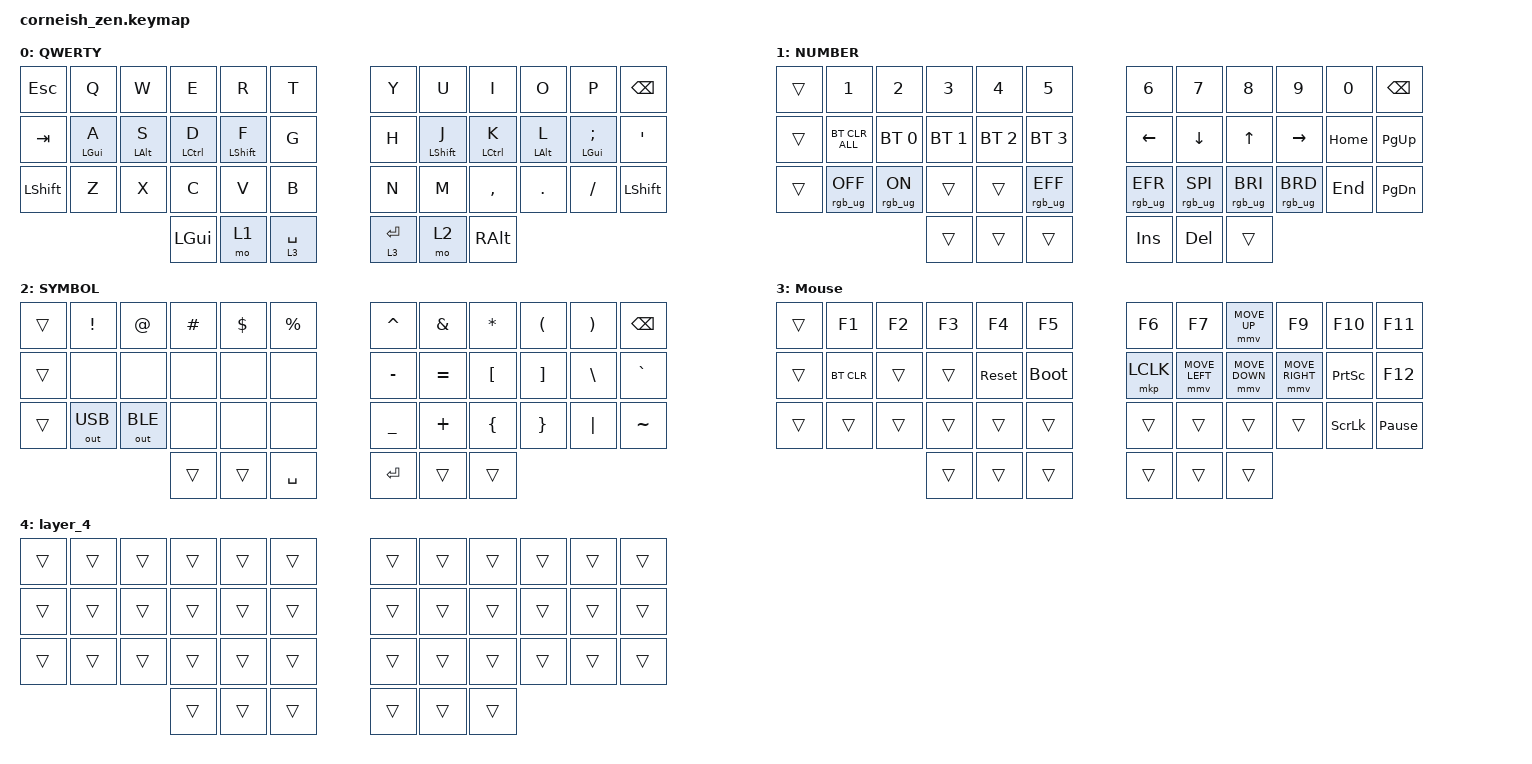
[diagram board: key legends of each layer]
/*
 * Copyright (c) 2020 The ZMK Contributors
 *
 * SPDX-License-Identifier: MIT
 */

#include <behaviors.dtsi>
#include <dt-bindings/zmk/bt.h>
#include <dt-bindings/zmk/keys.h>
#include <dt-bindings/zmk/outputs.h>
#include <dt-bindings/zmk/pointing.h>
#include <dt-bindings/zmk/rgb.h>

/ {
    chosen {
        zmk,matrix_transform = &default_transform;

        // zmk,matrix_transform = &five_column_transform;
    };
};

/ {
    behaviors {
        td0: td0 {
            compatible = "zmk,behavior-tap-dance";
            label = "TD0";
            #binding-cells = <0>;
            bindings = <&kp LEFT_SHIFT>, <&kp CAPS>;
        };
    };

    keymap {
        compatible = "zmk,keymap";

        default_layer {
            display-name = "QWERTY";

            // --------------------------------------------------------------------------------
            // |  TAB |  Q  |  W  |  E  |  R  |  T  |   |  Y  |  U   |  I  |  O  |  P  | BKSP |
            // | CTRL |  A  |  S  |  D  |  F  |  G  |   |  H  |  J   |  K  |  L  |  ;  |  '   | 
            // | SHFT |  Z  |  X  |  C  |  V  |  B  |   |  N  |  M   |  ,  |  .  |  /  | ESC  |
            //                    | GUI | LWR | SPC |   | ENT | RSE  | ALT |

            bindings = <
&kp ESC     &kp Q       &kp W       &kp E        &kp R        &kp T          &kp Y        &kp U        &kp I        &kp O       &kp P          &kp BSPC
&kp TAB     &mt LGUI A  &mt LALT S  &mt LCTRL D  &mt LSHFT F  &kp G          &kp H        &mt LSHFT J  &mt LCTRL K  &mt LALT L  &mt LGUI SEMI  &kp SQT
&kp LSHIFT  &kp Z       &kp X       &kp C        &kp V        &kp B          &kp N        &kp M        &kp COMMA    &kp DOT     &kp FSLH       &kp LEFT_SHIFT
                                    &kp LGUI     &mo 1        &lt 3 SPACE    &lt 3 ENTER  &mo 2        &kp RALT
            >;
        };

        lower_layer {
            display-name = "NUMBER";

            // -----------------------------------------------------------------------------------------
            // |  TAB |  1  |  2  |  3  |  4  |  5  |   |  6  |  7  |  8  |  9  |  0  | BKSP |
            // | BTCLR| BT1 | BT2 | BT3 | BT4 | BT5 |   | LFT | DWN |  UP | RGT |     |      |
            // | SHFT |     |     |     |     |     |   |     |     |     |     |     |      |
            //                    | GUI |     | SPC |   | ENT |     | ALT |

            bindings = <
&trans  &kp N1           &kp N2          &kp N3        &kp N4        &kp N5             &kp N6           &kp N7           &kp N8           &kp N9           &kp N0    &kp BSPC
&trans  &bt BT_CLR_ALL   &bt BT_SEL 0    &bt BT_SEL 1  &bt BT_SEL 2  &bt BT_SEL 3       &kp LEFT         &kp DOWN         &kp UP           &kp RIGHT        &kp HOME  &kp PG_UP
&trans  &rgb_ug RGB_OFF  &rgb_ug RGB_ON  &trans        &trans        &rgb_ug RGB_EFF    &rgb_ug RGB_EFR  &rgb_ug RGB_SPI  &rgb_ug RGB_BRI  &rgb_ug RGB_BRD  &kp END   &kp PG_DN
                                         &trans        &trans        &trans             &kp INS          &kp DEL          &trans
            >;
        };

        raise_layer {
            display-name = "SYMBOL";

            // -----------------------------------------------------------------------------------------
            // |  TAB |  !  |  @  |  #  |  $  |  %  |   |  ^  |  &  |  *  |  (  |  )  | BKSP |
            // | CTRL |     |     |     |     |     |   |  -  |  =  |  [  |  ]  |  \  |  `   |
            // | SHFT |     |     |     |     |     |   |  _  |  +  |  {  |  }  | "|" |  ~   |
            //                    | GUI |     | SPC |   | ENT |     | ALT |

            bindings = <
&trans  &kp EXCL      &kp AT        &kp HASH  &kp DLLR  &kp PRCNT    &kp CARET  &kp AMPS   &kp ASTRK  &kp LPAR  &kp RPAR  &kp BSPC
&trans  &none         &none         &none     &none     &none        &kp MINUS  &kp EQUAL  &kp LBKT   &kp RBKT  &kp BSLH  &kp GRAVE
&trans  &out OUT_USB  &out OUT_BLE  &none     &none     &none        &kp UNDER  &kp PLUS   &kp LBRC   &kp RBRC  &kp PIPE  &kp TILDE
                                    &trans    &trans    &kp SPACE    &kp RET    &trans     &trans
            >;
        };

        layer_3 {
            display-name = "Mouse";
            bindings = <
&trans  &kp F1      &kp F2  &kp F3  &kp F4      &kp F5         &kp F6     &kp F7          &mmv MOVE_UP    &kp F9           &kp F10          &kp F11
&trans  &bt BT_CLR  &trans  &trans  &sys_reset  &bootloader    &mkp LCLK  &mmv MOVE_LEFT  &mmv MOVE_DOWN  &mmv MOVE_RIGHT  &kp PRINTSCREEN  &kp F12
&trans  &trans      &trans  &trans  &trans      &trans         &trans     &trans          &trans          &trans           &kp SCROLLLOCK   &kp PAUSE_BREAK
                            &trans  &trans      &trans         &trans     &trans          &trans
            >;
        };

        layer_4 {
            bindings = <
&trans  &trans  &trans  &trans  &trans  &trans    &trans  &trans  &trans  &trans  &trans  &trans
&trans  &trans  &trans  &trans  &trans  &trans    &trans  &trans  &trans  &trans  &trans  &trans
&trans  &trans  &trans  &trans  &trans  &trans    &trans  &trans  &trans  &trans  &trans  &trans
                        &trans  &trans  &trans    &trans  &trans  &trans
            >;
        };
    };
};
